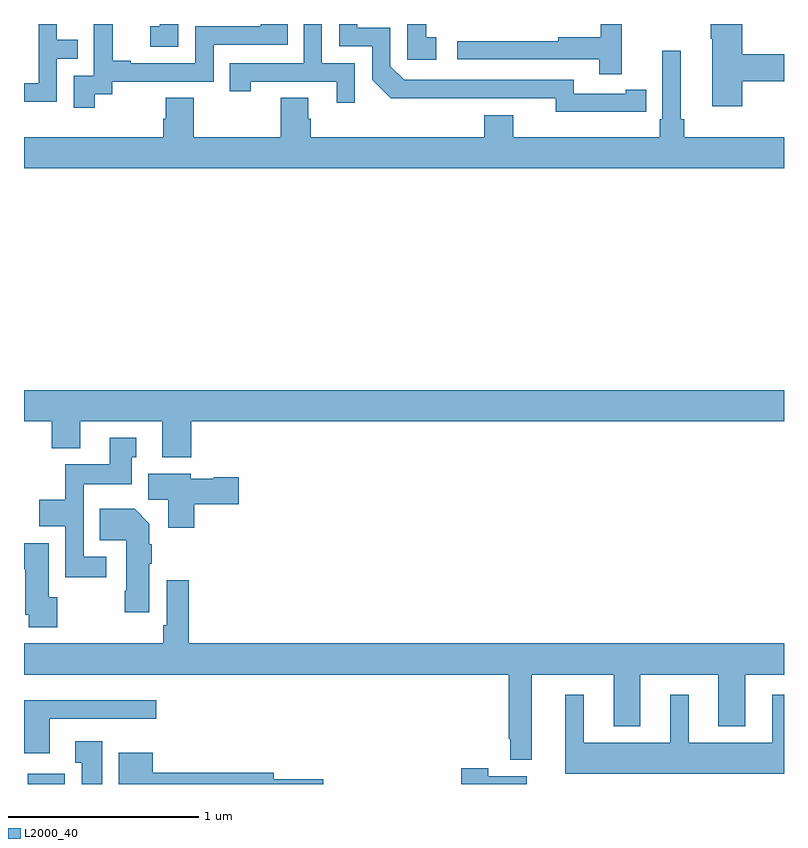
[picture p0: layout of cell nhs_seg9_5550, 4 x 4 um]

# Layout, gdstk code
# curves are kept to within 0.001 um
import gdstk
lib = gdstk.Library(unit=1e-6, precision=1e-09)
def R(c, l, rs):  # rectangles x0, y0, x1, y1
    for r in rs: c.add(gdstk.rectangle(r[:2], r[2:], *l))
def P(c, l, *ps):  # polygons
    for p in ps: c.add(gdstk.Polygon(p, *l))
L2000_40 = (2000, 40)

nhs_seg9_5550 = lib.new_cell('nhs_seg9_5550')
R(nhs_seg9_5550, L2000_40, [(433.019,1206.5,433.215,1206.553), (435.296,1210.499,435.715,1210.5)])
P(nhs_seg9_5550, L2000_40, [(436.781,1210.198),(437,1210.198),(437,1210.34),(436.781,1210.34),(436.781,1210.5),(436.615,1210.5),(436.615,1210.423),(436.622,1210.423),(436.622,1210.068),(436.781,1210.068)],
  [(433.372,1210.129),(433.464,1210.129),(433.464,1210.197),(433.998,1210.197),(433.998,1210.392),(434.387,1210.392),(434.387,1210.5),(434.247,1210.5),(434.247,1210.488),(433.902,1210.488),(433.902,1210.293),(433.561,1210.293),(433.561,1210.306),(433.466,1210.306),(433.466,1210.5),(433.367,1210.5),(433.367,1210.457),(433.368,1210.457),(433.368,1210.227),(433.263,1210.227),(433.263,1210.059),(433.372,1210.059)],
  [(434.742,1210.293),(434.568,1210.293),(434.568,1210.5),(434.472,1210.5),(434.472,1210.293),(434.083,1210.293),(434.083,1210.146),(434.194,1210.146),(434.194,1210.197),(434.645,1210.197),(434.645,1210.086),(434.742,1210.086)],
  [(433.812,1210.5),(433.714,1210.5),(433.714,1210.489),(433.665,1210.489),(433.665,1210.38),(433.812,1210.38)],
  [(435.169,1210.431),(435.116,1210.431),(435.116,1210.5),(435.018,1210.5),(435.018,1210.311),(435.169,1210.311)],
  [(433.173,1210.317),(433.283,1210.317),(433.283,1210.418),(433.173,1210.418),(433.173,1210.5),(433.077,1210.5),(433.077,1210.188),(433,1210.188),(433,1210.092),(433.173,1210.092)],
  [(436.166,1210.038),(436.274,1210.038),(436.274,1210.154),(436.166,1210.154),(436.166,1210.134),(435.894,1210.134),(435.894,1210.206),(435,1210.206),(434.928,1210.278),(434.928,1210.479),(434.755,1210.479),(434.755,1210.5),(434.658,1210.5),(434.658,1210.383),(434.832,1210.383),(434.832,1210.206),(434.93,1210.109),(435.798,1210.11),(435.798,1210.037)],
  [(436.145,1210.5),(436.035,1210.5),(436.035,1210.43),(435.811,1210.43),(435.811,1210.41),(435.279,1210.41),(435.279,1210.314),(436.027,1210.314),(436.027,1210.236),(436.145,1210.236)],
  [(437,1209.904),(436.475,1209.904),(436.475,1210),(436.456,1210),(436.456,1210.36),(436.359,1210.36),(436.359,1210),(436.346,1210),(436.346,1209.904),(435.574,1209.904),(435.574,1210.021),(435.422,1210.021),(435.422,1209.904),(434.51,1209.904),(434.51,1210.002),(434.497,1210.002),(434.497,1210.112),(434.35,1210.112),(434.35,1209.904),(433.893,1209.904),(433.893,1210.112),(433.745,1210.112),(433.745,1210.002),(433.733,1210.002),(433.733,1209.904),(433,1209.904),(433,1209.74),(437,1209.74)],
  [(433.88,1208.408),(437,1208.408),(437,1208.572),(433,1208.572),(433,1208.408),(433.145,1208.408),(433.145,1208.267),(433.297,1208.267),(433.297,1208.408),(433.727,1208.408),(433.727,1208.219),(433.88,1208.219)],
  [(433.432,1207.695),(433.314,1207.695),(433.314,1208.078),(433.567,1208.078),(433.567,1208.22),(433.591,1208.22),(433.591,1208.323),(433.451,1208.323),(433.451,1208.182),(433.216,1208.182),(433.216,1207.996),(433.079,1207.996),(433.079,1207.856),(433.218,1207.856),(433.218,1207.587),(433.432,1207.587)],
  [(433.895,1207.973),(434.131,1207.973),(434.131,1208.115),(433.998,1208.115),(433.998,1208.107),(433.878,1208.107),(433.878,1208.134),(433.655,1208.134),(433.655,1207.996),(433.76,1207.996),(433.76,1207.848),(433.895,1207.848)],
  [(433.66,1207.66),(433.673,1207.66),(433.673,1207.763),(433.66,1207.763),(433.66,1207.87),(433.582,1207.948),(433.399,1207.948),(433.399,1207.784),(433.538,1207.784),(433.538,1207.516),(433.531,1207.516),(433.531,1207.404),(433.66,1207.404)],
  [(433.176,1207.482),(433.129,1207.482),(433.129,1207.768),(433,1207.768),(433,1207.629),(433.007,1207.629),(433.007,1207.392),(433.024,1207.392),(433.024,1207.326),(433.176,1207.326)],
  [(435.673,1207.076),(436.103,1207.076),(436.103,1206.803),(436.243,1206.803),(436.243,1207.076),(436.655,1207.076),(436.655,1206.803),(436.795,1206.803),(436.795,1207.076),(437,1207.076),(437,1207.24),(433.868,1207.24),(433.868,1207.573),(433.752,1207.573),(433.752,1207.336),(433.732,1207.336),(433.732,1207.24),(433,1207.24),(433,1207.076),(435.552,1207.076),(435.552,1206.739),(435.559,1206.739),(435.559,1206.627),(435.673,1206.627)],
  [(437,1206.97),(436.937,1206.97),(436.937,1206.718),(436.498,1206.718),(436.498,1206.97),(436.4,1206.97),(436.4,1206.718),(435.946,1206.718),(435.946,1206.97),(435.848,1206.97),(435.848,1206.554),(437,1206.554)],
  [(433.135,1206.843),(433.696,1206.843),(433.696,1206.94),(433,1206.94),(433,1206.662),(433.135,1206.662)],
  [(433.411,1206.724),(433.271,1206.724),(433.271,1206.611),(433.304,1206.611),(433.304,1206.5),(433.411,1206.5)],
  [(434.575,1206.524),(434.314,1206.524),(434.314,1206.56),(433.678,1206.56),(433.678,1206.664),(433.499,1206.664),(433.499,1206.5),(434.575,1206.5)],
  [(435.646,1206.541),(435.444,1206.541),(435.444,1206.584),(435.302,1206.584),(435.302,1206.5),(435.646,1206.5)])

lib.write_gds('nhs_seg9_5550.gds')
